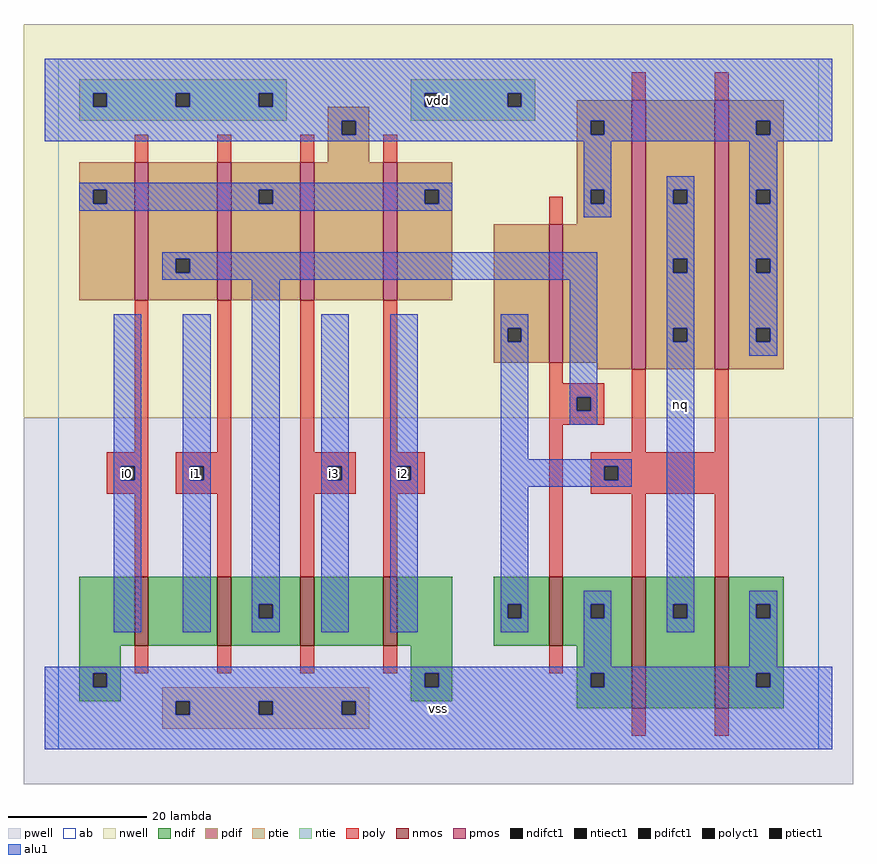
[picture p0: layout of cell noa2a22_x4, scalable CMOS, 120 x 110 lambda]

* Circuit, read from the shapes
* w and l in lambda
.subckt noa2a22_x4 i0 i1 i2 i3 nq vdd vss
M1 n1 i0 vss vss nfet w=10 l=2
M2 n2 i1 n1 vss nfet w=10 l=2
M3 n3 i3 n2 vss nfet w=10 l=2
M4 vss i2 n3 vss nfet w=10 l=2
M5 vss n2 n4 vss nfet w=10 l=2
M6 nq n4 vss vss nfet w=19 l=2 m=2
M7 n2 i0 n5 vdd pfet w=20 l=2
M8 n5 i1 n2 vdd pfet w=20 l=2
M9 vdd i3 n5 vdd pfet w=20 l=2
M10 n5 i2 vdd vdd pfet w=20 l=2
M11 vdd n2 n4 vdd pfet w=20 l=2
M12 nq n4 vdd vdd pfet w=39 l=2 m=2
.ends

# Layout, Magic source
magic
tech scmos
<< ab >>
rect 0 0 110 100
<< nwell >>
rect -5 48 115 105
<< pwell >>
rect -5 -5 115 48
<< poly >>
rect 83 94 85 98
rect 95 94 97 98
rect 11 85 13 89
rect 23 85 25 89
rect 35 85 37 89
rect 47 85 49 89
rect 71 76 73 80
rect 11 43 13 65
rect 23 43 25 65
rect 7 41 13 43
rect 7 39 9 41
rect 11 39 13 41
rect 7 37 13 39
rect 17 41 25 43
rect 17 39 19 41
rect 21 39 25 41
rect 17 37 25 39
rect 11 25 13 37
rect 23 25 25 37
rect 35 43 37 65
rect 47 43 49 65
rect 71 53 73 56
rect 71 51 79 53
rect 71 49 75 51
rect 77 49 79 51
rect 71 47 79 49
rect 35 41 43 43
rect 35 39 39 41
rect 41 39 43 41
rect 35 37 43 39
rect 47 41 53 43
rect 47 39 49 41
rect 51 39 53 41
rect 47 37 53 39
rect 35 25 37 37
rect 47 25 49 37
rect 71 25 73 47
rect 83 43 85 55
rect 95 43 97 55
rect 77 41 97 43
rect 77 39 79 41
rect 81 39 97 41
rect 77 37 97 39
rect 83 25 85 37
rect 95 25 97 37
rect 11 11 13 15
rect 23 11 25 15
rect 35 11 37 15
rect 47 11 49 15
rect 71 11 73 15
rect 83 2 85 6
rect 95 2 97 6
<< ndif >>
rect 3 15 11 25
rect 13 15 23 25
rect 25 21 35 25
rect 25 19 29 21
rect 31 19 35 21
rect 25 15 35 19
rect 37 15 47 25
rect 49 15 57 25
rect 63 21 71 25
rect 63 19 65 21
rect 67 19 71 21
rect 63 15 71 19
rect 73 21 83 25
rect 73 19 77 21
rect 79 19 83 21
rect 73 15 83 19
rect 3 11 9 15
rect 51 11 57 15
rect 75 11 83 15
rect 3 9 5 11
rect 7 9 9 11
rect 51 9 53 11
rect 55 9 57 11
rect 3 7 9 9
rect 51 7 57 9
rect 75 9 77 11
rect 79 9 83 11
rect 75 6 83 9
rect 85 21 95 25
rect 85 19 89 21
rect 91 19 95 21
rect 85 6 95 19
rect 97 21 105 25
rect 97 19 101 21
rect 103 19 105 21
rect 97 11 105 19
rect 97 9 101 11
rect 103 9 105 11
rect 97 6 105 9
<< pdif >>
rect 39 91 45 93
rect 75 91 83 94
rect 39 89 41 91
rect 43 89 45 91
rect 75 89 77 91
rect 79 89 83 91
rect 39 85 45 89
rect 3 81 11 85
rect 3 79 5 81
rect 7 79 11 81
rect 3 65 11 79
rect 13 71 23 85
rect 13 69 17 71
rect 19 69 23 71
rect 13 65 23 69
rect 25 81 35 85
rect 25 79 29 81
rect 31 79 35 81
rect 25 65 35 79
rect 37 65 47 85
rect 49 81 57 85
rect 49 79 53 81
rect 55 79 57 81
rect 75 81 83 89
rect 49 65 57 79
rect 75 79 77 81
rect 79 79 83 81
rect 75 76 83 79
rect 63 61 71 76
rect 63 59 65 61
rect 67 59 71 61
rect 63 56 71 59
rect 73 56 83 76
rect 78 55 83 56
rect 85 81 95 94
rect 85 79 89 81
rect 91 79 95 81
rect 85 71 95 79
rect 85 69 89 71
rect 91 69 95 71
rect 85 61 95 69
rect 85 59 89 61
rect 91 59 95 61
rect 85 55 95 59
rect 97 91 105 94
rect 97 89 101 91
rect 103 89 105 91
rect 97 81 105 89
rect 97 79 101 81
rect 103 79 105 81
rect 97 71 105 79
rect 97 69 101 71
rect 103 69 105 71
rect 97 61 105 69
rect 97 59 101 61
rect 103 59 105 61
rect 97 55 105 59
<< alu1 >>
rect -2 95 112 100
rect -2 93 5 95
rect 7 93 17 95
rect 19 93 29 95
rect 31 93 53 95
rect 55 93 65 95
rect 67 93 112 95
rect -2 91 112 93
rect -2 89 41 91
rect 43 89 77 91
rect 79 89 101 91
rect 103 89 112 91
rect -2 88 112 89
rect 3 81 57 82
rect 3 79 5 81
rect 7 79 29 81
rect 31 79 53 81
rect 55 79 57 81
rect 3 78 57 79
rect 76 81 80 88
rect 76 79 77 81
rect 79 79 80 81
rect 76 77 80 79
rect 88 81 92 83
rect 88 79 89 81
rect 91 79 92 81
rect 15 71 78 72
rect 15 69 17 71
rect 19 69 78 71
rect 15 68 78 69
rect 8 41 12 63
rect 8 39 9 41
rect 11 39 12 41
rect 8 17 12 39
rect 18 41 22 63
rect 18 39 19 41
rect 21 39 22 41
rect 18 17 22 39
rect 28 21 32 68
rect 28 19 29 21
rect 31 19 32 21
rect 28 17 32 19
rect 38 41 42 63
rect 38 39 39 41
rect 41 39 42 41
rect 38 17 42 39
rect 48 41 52 63
rect 48 39 49 41
rect 51 39 52 41
rect 48 17 52 39
rect 64 61 68 63
rect 64 59 65 61
rect 67 59 68 61
rect 64 42 68 59
rect 74 51 78 68
rect 74 49 75 51
rect 77 49 78 51
rect 74 47 78 49
rect 88 71 92 79
rect 88 69 89 71
rect 91 69 92 71
rect 88 61 92 69
rect 88 59 89 61
rect 91 59 92 61
rect 64 41 83 42
rect 64 39 79 41
rect 81 39 83 41
rect 64 38 83 39
rect 64 21 68 38
rect 64 19 65 21
rect 67 19 68 21
rect 64 17 68 19
rect 76 21 80 23
rect 76 19 77 21
rect 79 19 80 21
rect 76 12 80 19
rect 88 21 92 59
rect 100 81 104 88
rect 100 79 101 81
rect 103 79 104 81
rect 100 71 104 79
rect 100 69 101 71
rect 103 69 104 71
rect 100 61 104 69
rect 100 59 101 61
rect 103 59 104 61
rect 100 57 104 59
rect 88 19 89 21
rect 91 19 92 21
rect 88 17 92 19
rect 100 21 104 23
rect 100 19 101 21
rect 103 19 104 21
rect 100 12 104 19
rect -2 11 112 12
rect -2 9 5 11
rect 7 9 53 11
rect 55 9 77 11
rect 79 9 101 11
rect 103 9 112 11
rect -2 7 112 9
rect -2 5 17 7
rect 19 5 29 7
rect 31 5 41 7
rect 43 5 112 7
rect -2 0 112 5
<< ptie >>
rect 15 7 45 9
rect 15 5 17 7
rect 19 5 29 7
rect 31 5 41 7
rect 43 5 45 7
rect 15 3 45 5
<< ntie >>
rect 3 95 33 97
rect 3 93 5 95
rect 7 93 17 95
rect 19 93 29 95
rect 31 93 33 95
rect 51 95 69 97
rect 51 93 53 95
rect 55 93 65 95
rect 67 93 69 95
rect 3 91 33 93
rect 51 91 69 93
<< nmos >>
rect 11 15 13 25
rect 23 15 25 25
rect 35 15 37 25
rect 47 15 49 25
rect 71 15 73 25
rect 83 6 85 25
rect 95 6 97 25
<< pmos >>
rect 11 65 13 85
rect 23 65 25 85
rect 35 65 37 85
rect 47 65 49 85
rect 71 56 73 76
rect 83 55 85 94
rect 95 55 97 94
<< polyct1 >>
rect 9 39 11 41
rect 19 39 21 41
rect 75 49 77 51
rect 39 39 41 41
rect 49 39 51 41
rect 79 39 81 41
<< ndifct1 >>
rect 29 19 31 21
rect 65 19 67 21
rect 77 19 79 21
rect 5 9 7 11
rect 53 9 55 11
rect 77 9 79 11
rect 89 19 91 21
rect 101 19 103 21
rect 101 9 103 11
<< ntiect1 >>
rect 5 93 7 95
rect 17 93 19 95
rect 29 93 31 95
rect 53 93 55 95
rect 65 93 67 95
<< ptiect1 >>
rect 17 5 19 7
rect 29 5 31 7
rect 41 5 43 7
<< pdifct1 >>
rect 41 89 43 91
rect 77 89 79 91
rect 5 79 7 81
rect 17 69 19 71
rect 29 79 31 81
rect 53 79 55 81
rect 77 79 79 81
rect 65 59 67 61
rect 89 79 91 81
rect 89 69 91 71
rect 89 59 91 61
rect 101 89 103 91
rect 101 79 103 81
rect 101 69 103 71
rect 101 59 103 61
<< labels >>
rlabel polyct1 10 40 10 40 6 i0
rlabel polyct1 20 40 20 40 6 i1
rlabel polyct1 40 40 40 40 6 i3
rlabel polyct1 50 40 50 40 6 i2
rlabel alu1 55 6 55 6 6 vss
rlabel alu1 55 94 55 94 6 vdd
rlabel alu1 90 50 90 50 6 nq
<< end >>
